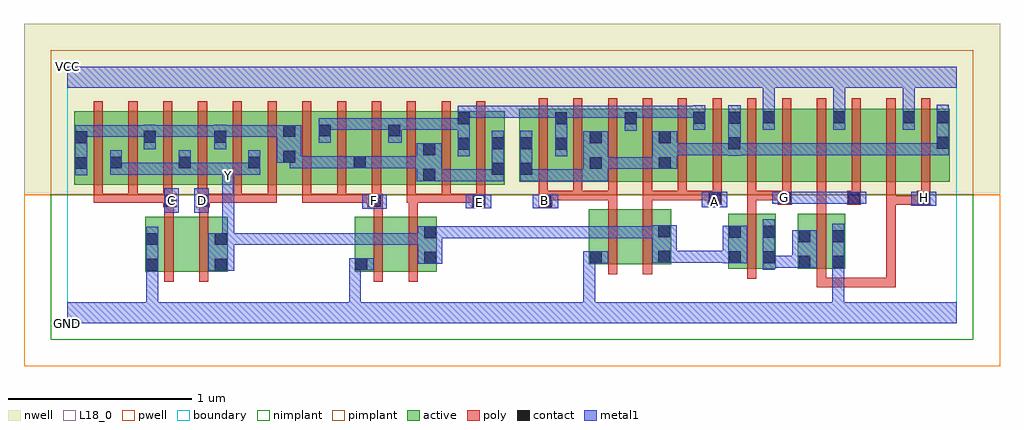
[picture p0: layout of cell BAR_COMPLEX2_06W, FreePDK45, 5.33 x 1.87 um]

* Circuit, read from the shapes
.subckt BAR_COMPLEX2_06W A B C D E F G GND H VCC Y
M1 n1 C GND VSUBS nfet w=0.3u l=0.05u
M2 Y D n1 VSUBS nfet w=0.3u l=0.05u
M3 n2 F GND VSUBS nfet w=0.3u l=0.05u
M4 Y E n2 VSUBS nfet w=0.3u l=0.05u
M5 n3 B GND VSUBS nfet w=0.3u l=0.05u
M6 Y A n3 VSUBS nfet w=0.3u l=0.05u
M7 n4 G Y VSUBS nfet w=0.3u l=0.05u
M8 GND H n4 VSUBS nfet w=0.3u l=0.05u
M9 Y C n5 n6 pfet w=0.4u l=0.05u m=3
M10 n5 D Y n6 pfet w=0.4u l=0.05u m=3
M11 n7 F n5 n6 pfet w=0.4u l=0.05u m=3
M12 n5 E n7 n6 pfet w=0.4u l=0.05u m=3
M13 n7 B n8 n6 pfet w=0.4u l=0.05u m=3
M14 n8 A n7 n6 pfet w=0.4u l=0.05u m=3
M15 VCC G n8 n6 pfet w=0.4u l=0.05u
M16 n9 G VCC n6 pfet w=0.4u l=0.05u
M17 VCC H n9 n6 pfet w=0.4u l=0.05u
M18 n10 G VCC n6 pfet w=0.4u l=0.05u
M19 VCC H n10 n6 pfet w=0.4u l=0.05u
M20 n8 H VCC n6 pfet w=0.4u l=0.05u
.ends

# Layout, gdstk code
import gdstk
lib = gdstk.Library(unit=1e-6, precision=1e-09)
def R(c, l, rs):  # rectangles x0, y0, x1, y1
    for r in rs: c.add(gdstk.rectangle(r[:2], r[2:], *l))
def A(c, l, x, y, w, h, nx, ny, dx, dy):  # array of equal rectangles
    R(c, l, [(x+i*dx, y+j*dy, x+i*dx+w, y+j*dy+h) for i in range(nx) for j in range(ny)])
active = (1, 0)
pwell = (2, 0)
nwell = (3, 0)
nimplant = (4, 0)
pimplant = (5, 0)
poly = (9, 0)
contact = (10, 0)
metal1 = (11, 0)
L18_0 = (18, 0)
boundary = (235, 0)

bar_complex2_06w = lib.new_cell('BAR_COMPLEX2_06W')
A(bar_complex2_06w, active, 1.37, 0.757, 0.265, 0.4, 4, 1, 0.19, 0)
A(bar_complex2_06w, active, 2.47, 0.772, 0.265, 0.4, 3, 1, 0.19, 0)
R(bar_complex2_06w, active, [(0.427,0.282,0.502,0.582), (0.427,0.282,0.652,0.582), (0.652,0.282,0.877,0.582), (0.802,0.282,0.877,0.582), (1.57,0.282,1.645,0.582), (1.57,0.282,1.795,0.582), (1.795,0.282,2.02,0.582), (1.945,0.282,2.02,0.582), (3.61,0.297,3.87,0.597), (3.99,0.297,4.065,0.597), (3.99,0.297,4.25,0.597), (4.175,0.297,4.25,0.597), (2.85,0.322,2.925,0.622), (2.85,0.322,3.075,0.622), (3.075,0.322,3.3,0.622), (3.61,0.322,3.685,0.597), (3.795,0.322,3.87,0.597), (3.225,0.325,3.3,0.622), (0.04,0.757,0.305,1.157), (0.04,0.757,0.115,1.155), (0.23,0.757,0.49,1.157), (0.23,0.757,0.305,1.07), (0.415,0.757,0.68,1.157), (0.415,0.757,0.49,1.155), (0.605,0.757,0.68,1.07), (0.605,0.757,0.875,1.157), (0.8,0.757,1.06,1.157), (0.8,0.757,0.875,1.155), (0.985,0.757,1.25,1.157), (0.985,0.757,1.06,1.07), (1.175,0.757,1.445,1.157), (1.175,0.757,1.25,1.155), (1.56,0.757,1.635,1.07), (1.75,0.757,1.825,1.157), (1.94,0.757,2.015,1.07), (2.13,0.757,2.39,1.157), (2.13,0.757,2.205,1.157), (2.315,0.757,2.39,1.07), (2.47,0.772,2.545,1.07), (3.04,0.772,3.302,1.172), (3.227,0.772,3.49,1.172), (3.415,0.772,3.682,1.172), (3.607,0.772,3.87,1.172), (3.795,0.772,4.025,1.172), (4.025,0.772,4.255,1.172), (4.18,0.772,4.405,1.172), (4.405,0.772,4.635,1.172), (4.56,0.772,4.82,1.172), (4.745,0.772,4.82,1.165), (2.85,0.837,2.925,1.07), (3.227,0.837,3.302,1.07), (1.37,0.907,1.445,1.155), (2.66,0.907,2.735,1.16), (3.04,0.907,3.115,1.157), (3.415,0.907,3.49,1.16), (3.607,0.907,3.682,1.162), (3.795,0.907,3.87,1.172), (4.18,0.907,4.255,1.172), (4.56,0.907,4.635,1.172)])
R(bar_complex2_06w, pwell, [(-0.235,-0.235,5.095,0.7)])
R(bar_complex2_06w, nwell, [(-0.235,0.7,5.095,1.635)])
R(bar_complex2_06w, nimplant, [(-0.09,-0.09,4.95,0.7)])
R(bar_complex2_06w, pimplant, [(-0.09,0.7,4.95,1.49)])
A(bar_complex2_06w, poly, 0.145, 0.657, 0.05, 0.095, 12, 1, 0.19, 0)
A(bar_complex2_06w, poly, 1.095, 0.657, 0.05, 0.05, 3, 1, 0.19, 0)
A(bar_complex2_06w, poly, 2.575, 0.672, 0.05, 0.095, 10, 1, 0.19, 0)
A(bar_complex2_06w, poly, 2.955, 0.672, 0.05, 0.05, 3, 1, 0.19, 0)
A(bar_complex2_06w, poly, 0.145, 0.702, 0.05, 0.51, 12, 1, 0.19, 0)
A(bar_complex2_06w, poly, 2.575, 0.717, 0.05, 0.51, 12, 1, 0.19, 0)
R(bar_complex2_06w, poly, [(4.095,0.197,4.145,0.292), (4.095,0.197,4.145,0.247), (4.095,0.197,4.145,0.247), (4.095,0.197,4.145,0.247), (4.095,0.197,4.302,0.247), (4.252,0.197,4.302,0.247), (4.252,0.197,4.302,0.247), (4.252,0.197,4.302,0.247), (4.252,0.197,4.302,0.247), (4.252,0.197,4.302,0.247), (4.252,0.197,4.302,0.247), (4.252,0.197,4.302,0.247), (4.252,0.197,4.525,0.247), (4.475,0.197,4.525,0.247), (4.475,0.197,4.525,0.247), (4.475,0.197,4.525,0.247), (4.475,0.197,4.525,0.697), (0.532,0.227,0.582,0.637), (0.722,0.227,0.772,0.637), (1.675,0.227,1.725,0.637), (1.865,0.227,1.915,0.637), (3.715,0.242,3.765,0.652), (4.095,0.242,4.145,0.652), (2.955,0.267,3.005,0.677), (3.145,0.267,3.195,0.677), (0.532,0.587,0.582,0.682), (0.722,0.587,0.772,0.682), (1.675,0.587,1.725,0.682), (1.865,0.587,1.915,0.707), (3.715,0.602,3.765,0.722), (4.095,0.602,4.145,0.722), (2.955,0.627,3.005,0.722), (3.145,0.627,3.195,0.722), (0.525,0.632,0.6,0.707), (0.705,0.632,0.78,0.707), (1.64,0.632,1.725,0.707), (2.21,0.632,2.285,0.707), (2.575,0.632,2.65,0.722), (3.5,0.647,3.575,0.722), (3.882,0.647,3.957,0.722), (4.26,0.647,4.335,0.722), (4.475,0.647,4.525,0.697), (4.475,0.647,4.69,0.697), (4.475,0.647,4.525,0.767), (4.64,0.647,4.69,0.697), (4.64,0.647,4.69,0.697), (4.64,0.647,4.715,0.722), (0.145,0.657,0.195,0.707), (0.145,0.657,0.195,0.707), (0.145,0.657,0.195,0.707), (0.145,0.657,0.385,0.707), (0.335,0.657,0.385,0.707), (0.335,0.657,0.385,0.707), (0.335,0.657,0.385,0.707), (0.335,0.657,0.575,0.707), (0.73,0.657,0.78,0.707), (0.73,0.657,0.78,0.707), (0.73,0.657,0.955,0.707), (0.905,0.657,0.955,0.707), (0.905,0.657,1.145,0.707), (1.095,0.657,1.145,0.707), (1.095,0.657,1.145,0.707), (1.285,0.657,1.525,0.707), (1.475,0.657,1.525,0.707), (1.475,0.657,1.525,0.707), (1.475,0.657,1.69,0.707), (1.64,0.657,1.69,0.707), (1.64,0.657,1.69,0.707), (1.855,0.657,1.915,0.707), (1.865,0.657,1.915,0.707), (1.865,0.657,1.915,0.707), (1.865,0.657,2.095,0.707), (2.045,0.657,2.095,0.707), (2.045,0.657,2.26,0.707), (2.21,0.657,2.26,0.707), (2.21,0.657,2.26,0.707), (2.6,0.672,2.65,0.722), (2.6,0.672,2.65,0.722), (2.6,0.672,2.815,0.722), (2.765,0.672,2.815,0.722), (2.765,0.672,3.005,0.722), (2.955,0.672,3.005,0.722), (2.955,0.672,3.005,0.722), (3.145,0.672,3.385,0.722), (3.335,0.672,3.385,0.722), (3.335,0.672,3.385,0.722), (3.335,0.672,3.55,0.722), (3.5,0.672,3.55,0.722), (3.5,0.672,3.55,0.722), (3.715,0.672,3.765,0.722), (3.715,0.672,3.932,0.722), (3.882,0.672,3.932,0.722), (3.882,0.672,3.932,0.722), (4.095,0.672,4.145,0.722), (4.665,0.672,4.715,0.767)])
R(bar_complex2_06w, contact, [(0.432,0.287,0.497,0.352), (0.807,0.287,0.872,0.352), (1.575,0.29,1.64,0.355), (3.995,0.302,4.06,0.367), (4.18,0.302,4.245,0.367), (1.95,0.325,2.015,0.39), (2.855,0.327,2.92,0.392), (3.615,0.327,3.68,0.392), (3.8,0.327,3.865,0.392), (3.23,0.33,3.295,0.395), (0.432,0.427,0.497,0.492), (0.807,0.427,0.872,0.492), (3.995,0.442,4.06,0.507), (4.18,0.442,4.245,0.507), (1.95,0.465,2.015,0.53), (3.615,0.467,3.68,0.532), (3.8,0.467,3.865,0.532), (3.23,0.47,3.295,0.535), (0.53,0.637,0.595,0.702), (0.71,0.637,0.775,0.702), (1.647,0.637,1.712,0.702), (2.215,0.637,2.28,0.702), (2.58,0.637,2.645,0.702), (3.505,0.652,3.57,0.717), (3.887,0.652,3.952,0.717), (4.265,0.652,4.33,0.717), (4.645,0.652,4.71,0.717), (1.945,0.777,2.01,0.842), (2.32,0.81,2.385,0.875), (2.475,0.81,2.54,0.875), (0.045,0.842,0.11,0.907), (2.855,0.842,2.92,0.907), (3.232,0.842,3.297,0.907), (0.235,0.845,0.3,0.91), (0.61,0.845,0.675,0.91), (0.99,0.845,1.055,0.91), (1.565,0.847,1.63,0.912), (1.18,0.877,1.245,0.942), (1.945,0.917,2.01,0.982), (2.135,0.947,2.2,1.012), (2.665,0.947,2.73,1.012), (2.32,0.95,2.385,1.015), (2.475,0.95,2.54,1.015), (3.612,0.95,3.677,1.015), (4.75,0.952,4.815,1.017), (0.045,0.982,0.11,1.047), (2.855,0.982,2.92,1.047), (3.232,0.982,3.297,1.047), (0.42,0.985,0.485,1.05), (0.805,0.985,0.87,1.05), (1.18,1.017,1.245,1.082), (1.375,1.02,1.44,1.085), (1.755,1.02,1.82,1.085), (2.135,1.087,2.2,1.152), (2.665,1.087,2.73,1.152), (3.045,1.087,3.11,1.152), (3.42,1.09,3.485,1.155), (3.612,1.09,3.677,1.155), (3.8,1.092,3.865,1.157), (4.185,1.092,4.25,1.157), (4.565,1.092,4.63,1.157), (4.75,1.092,4.815,1.157)])
R(bar_complex2_06w, metal1, [(0,0,4.86,0.115), (0.432,0.05,0.497,0.115), (0.432,0.05,0.497,0.115), (0.432,0.05,0.497,0.317), (1.54,0.05,1.605,0.115), (1.54,0.05,1.605,0.115), (1.54,0.05,1.605,0.115), (1.54,0.05,1.605,0.115), (1.54,0.05,1.605,0.355), (2.82,0.05,2.885,0.115), (2.82,0.05,2.885,0.115), (2.82,0.05,2.885,0.115), (2.82,0.05,2.885,0.115), (2.82,0.05,2.885,0.392), (4.18,0.05,4.245,0.115), (4.18,0.05,4.245,0.115), (4.18,0.05,4.245,0.332), (0.432,0.252,0.497,0.317), (0.432,0.252,0.497,0.317), (0.432,0.252,0.497,0.527), (4.18,0.267,4.245,0.332), (4.18,0.267,4.245,0.332), (4.18,0.267,4.245,0.542), (0.772,0.287,0.912,0.492), (1.54,0.29,1.675,0.355), (3.8,0.292,3.865,0.567), (3.8,0.302,3.865,0.367), (3.8,0.302,3.865,0.367), (3.8,0.302,4.025,0.367), (3.96,0.302,4.095,0.507), (1.915,0.325,2.05,0.53), (2.82,0.327,2.955,0.392), (3.58,0.327,3.715,0.532), (3.195,0.33,3.33,0.535), (3.265,0.33,3.332,0.395), (3.267,0.33,3.332,0.395), (3.267,0.33,3.507,0.395), (3.442,0.33,3.507,0.395), (3.442,0.33,3.507,0.395), (3.442,0.33,3.507,0.395), (3.442,0.33,3.645,0.395), (0.847,0.427,0.912,0.492), (0.847,0.427,0.912,0.492), (0.847,0.427,1.05,0.492), (0.847,0.427,0.912,0.802), (0.985,0.427,1.05,0.492), (0.985,0.427,1.05,0.492), (0.985,0.427,1.05,0.492), (0.985,0.427,1.28,0.492), (1.215,0.427,1.28,0.492), (1.215,0.427,1.28,0.492), (1.215,0.427,1.28,0.492), (1.215,0.427,1.417,0.492), (1.352,0.427,1.417,0.492), (1.352,0.427,1.417,0.492), (1.352,0.427,1.417,0.492), (1.352,0.427,1.672,0.492), (1.607,0.427,1.672,0.492), (1.607,0.427,1.672,0.492), (1.607,0.427,1.672,0.492), (1.607,0.427,1.837,0.492), (1.772,0.427,1.837,0.492), (1.772,0.427,1.837,0.492), (1.772,0.427,1.837,0.492), (1.772,0.427,1.98,0.492), (1.985,0.465,2.05,0.53), (1.985,0.465,2.05,0.53), (1.985,0.465,2.187,0.53), (2.122,0.465,2.187,0.53), (2.122,0.465,2.187,0.53), (2.122,0.465,2.187,0.53), (2.122,0.465,2.385,0.53), (2.32,0.465,2.385,0.53), (2.32,0.465,2.385,0.53), (2.32,0.465,2.385,0.53), (2.32,0.465,2.522,0.53), (2.457,0.465,2.522,0.53), (2.457,0.465,2.677,0.53), (2.612,0.465,2.677,0.53), (2.612,0.465,2.677,0.53), (2.612,0.465,2.677,0.53), (2.612,0.465,2.957,0.53), (2.892,0.465,2.957,0.53), (2.892,0.465,2.957,0.53), (2.892,0.465,2.957,0.53), (2.892,0.465,3.095,0.53), (3.03,0.465,3.095,0.53), (3.03,0.465,3.095,0.53), (3.03,0.465,3.095,0.53), (3.03,0.465,3.26,0.53), (0.53,0.602,0.61,0.737), (0.695,0.602,0.775,0.737), (1.612,0.625,1.747,0.702), (2.177,0.627,2.317,0.702), (2.542,0.627,2.682,0.702), (3.467,0.632,3.605,0.717), (4.61,0.64,4.747,0.717), (3.852,0.652,3.987,0.717), (3.922,0.652,4.002,0.717), (3.937,0.652,4.002,0.717), (3.937,0.652,4.157,0.717), (4.092,0.652,4.157,0.717), (4.092,0.652,4.157,0.717), (4.092,0.652,4.157,0.717), (4.092,0.652,4.295,0.717), (4.23,0.652,4.365,0.717), (0.847,0.737,0.912,0.875), (1.91,0.775,2.045,0.982), (1.98,0.775,2.045,0.84), (1.98,0.775,2.045,0.84), (1.98,0.775,2.247,0.84), (2.182,0.775,2.247,0.84), (2.182,0.775,2.247,0.84), (2.182,0.775,2.247,0.84), (2.182,0.775,2.385,0.84), (2.32,0.775,2.385,1.05), (2.475,0.775,2.54,0.84), (2.475,0.775,2.54,0.84), (2.475,0.775,2.54,1.05), (2.475,0.775,2.677,0.84), (2.612,0.775,2.677,0.84), (2.612,0.775,2.677,0.84), (2.612,0.775,2.677,0.84), (2.612,0.775,2.885,0.84), (2.82,0.775,2.955,1.047), (0.045,0.807,0.11,1.082), (0.235,0.81,0.3,0.875), (0.235,0.81,0.3,0.875), (0.235,0.81,0.3,0.945), (0.235,0.81,0.537,0.875), (0.472,0.81,0.537,0.875), (0.472,0.81,0.537,0.875), (0.472,0.81,0.537,0.875), (0.472,0.81,0.675,0.875), (0.61,0.81,0.675,0.875), (0.61,0.81,0.675,0.875), (0.61,0.81,0.675,0.945), (0.61,0.81,0.912,0.875), (0.847,0.81,0.912,0.875), (0.847,0.81,0.912,0.875), (0.847,0.81,0.912,0.875), (0.847,0.81,0.912,0.875), (0.847,0.81,1.055,0.875), (0.99,0.81,1.055,0.945), (2.89,0.842,2.955,0.907), (2.89,0.842,2.955,0.907), (2.89,0.842,3.122,0.907), (3.057,0.842,3.122,0.907), (3.057,0.842,3.122,0.907), (3.057,0.842,3.122,0.907), (3.057,0.842,3.262,0.907), (3.197,0.842,3.332,1.047), (1.215,0.847,1.28,0.912), (1.215,0.847,1.28,0.912), (1.215,0.847,1.457,0.912), (1.215,0.847,1.28,0.942), (1.392,0.847,1.457,0.912), (1.392,0.847,1.457,0.912), (1.392,0.847,1.457,0.912), (1.392,0.847,1.595,0.912), (1.53,0.847,1.665,0.912), (1.59,0.847,1.655,0.912), (1.59,0.847,1.665,0.912), (1.6,0.847,1.837,0.912), (1.772,0.847,1.837,0.912), (1.772,0.847,1.837,0.912), (1.772,0.847,1.837,0.912), (1.772,0.847,1.975,0.912), (1.145,0.877,1.28,1.082), (1.215,0.877,1.28,0.942), (2.135,0.912,2.2,1.187), (2.665,0.912,2.732,1.187), (3.612,0.915,3.68,1.19), (3.267,0.917,3.332,0.982), (3.267,0.917,3.332,0.982), (3.267,0.917,3.47,0.982), (3.405,0.917,3.47,0.982), (3.405,0.917,3.47,0.982), (3.405,0.917,3.47,0.982), (3.405,0.917,3.677,0.982), (3.615,0.917,3.68,0.982), (3.615,0.917,3.68,0.982), (3.615,0.917,3.865,0.982), (3.8,0.917,3.865,0.982), (3.8,0.917,3.865,0.982), (3.8,0.917,3.865,0.982), (3.8,0.917,4.002,0.982), (3.937,0.917,4.002,0.982), (3.937,0.917,4.157,0.982), (4.092,0.917,4.157,0.982), (4.092,0.917,4.157,0.982), (4.092,0.917,4.157,0.982), (4.092,0.917,4.295,0.982), (4.23,0.917,4.295,0.982), (4.23,0.917,4.295,0.982), (4.23,0.917,4.295,0.982), (4.23,0.917,4.432,0.982), (4.367,0.917,4.432,0.982), (4.367,0.917,4.432,0.982), (4.367,0.917,4.432,0.982), (4.367,0.917,4.815,0.982), (4.75,0.917,4.815,0.982), (4.75,0.917,4.815,0.982), (4.75,0.917,4.815,1.192), (0.42,0.95,0.485,1.085), (0.805,0.95,0.87,1.085), (1.375,0.985,1.44,1.12), (1.755,0.985,1.827,1.12), (0.045,1.017,0.11,1.082), (0.045,1.017,0.11,1.082), (0.045,1.017,0.347,1.082), (0.282,1.017,0.347,1.082), (0.282,1.017,0.347,1.082), (0.282,1.017,0.347,1.082), (0.282,1.017,0.485,1.082), (0.42,1.017,0.485,1.082), (0.42,1.017,0.485,1.082), (0.42,1.017,0.675,1.082), (0.61,1.017,0.675,1.082), (0.61,1.017,0.675,1.082), (0.61,1.017,0.675,1.082), (0.61,1.017,0.87,1.082), (0.805,1.017,0.912,1.082), (0.847,1.017,0.912,1.082), (0.847,1.017,1.072,1.082), (1.007,1.017,1.072,1.082), (1.007,1.017,1.072,1.082), (1.007,1.017,1.072,1.082), (1.007,1.017,1.21,1.082), (3.045,1.052,3.11,1.187), (1.375,1.055,1.44,1.12), (1.375,1.055,1.44,1.12), (1.375,1.055,1.672,1.12), (1.607,1.055,1.672,1.12), (1.607,1.055,1.672,1.12), (1.607,1.055,1.672,1.12), (1.607,1.055,1.82,1.12), (1.762,1.055,1.907,1.12), (1.842,1.055,1.907,1.12), (1.842,1.055,2.05,1.12), (1.985,1.055,2.05,1.12), (1.985,1.055,2.05,1.12), (1.985,1.055,2.05,1.12), (1.985,1.055,2.2,1.12), (3.42,1.055,3.485,1.19), (3.8,1.057,3.865,1.192), (4.185,1.057,4.25,1.192), (4.565,1.057,4.63,1.192), (2.135,1.122,2.2,1.187), (2.135,1.122,2.2,1.187), (2.135,1.122,2.385,1.187), (2.32,1.122,2.385,1.187), (2.32,1.122,2.385,1.187), (2.32,1.122,2.385,1.187), (2.32,1.122,2.54,1.187), (2.475,1.122,2.54,1.187), (2.475,1.122,2.73,1.187), (2.667,1.122,2.732,1.187), (2.667,1.122,2.732,1.187), (2.667,1.122,2.87,1.187), (2.805,1.122,2.87,1.187), (2.805,1.122,2.87,1.187), (2.805,1.122,2.87,1.187), (2.805,1.122,3.11,1.187), (3.045,1.122,3.11,1.187), (3.045,1.122,3.11,1.187), (3.045,1.122,3.26,1.187), (3.195,1.122,3.26,1.187), (3.195,1.122,3.332,1.187), (3.267,1.122,3.332,1.187), (3.267,1.122,3.485,1.187), (3.8,1.127,3.865,1.35), (4.185,1.127,4.25,1.35), (4.565,1.127,4.63,1.35), (0,1.285,4.86,1.4)])
R(bar_complex2_06w, L18_0, [(0,0,4.86,0.115), (0.432,0.05,0.497,0.115), (0.432,0.05,0.497,0.115), (0.432,0.05,0.497,0.317), (1.54,0.05,1.605,0.115), (1.54,0.05,1.605,0.115), (1.54,0.05,1.605,0.115), (1.54,0.05,1.605,0.115), (1.54,0.05,1.605,0.355), (2.82,0.05,2.885,0.115), (2.82,0.05,2.885,0.115), (2.82,0.05,2.885,0.115), (2.82,0.05,2.885,0.115), (2.82,0.05,2.885,0.392), (4.18,0.05,4.245,0.115), (4.18,0.05,4.245,0.115), (4.18,0.05,4.245,0.332), (0.432,0.252,0.497,0.317), (0.432,0.252,0.497,0.317), (0.432,0.252,0.497,0.527), (4.18,0.267,4.245,0.332), (4.18,0.267,4.245,0.332), (4.18,0.267,4.245,0.542), (0.772,0.287,0.912,0.492), (1.54,0.29,1.675,0.355), (1.915,0.325,2.05,0.53), (2.82,0.327,2.955,0.392), (3.58,0.327,3.715,0.532), (3.195,0.33,3.33,0.535), (3.265,0.33,3.332,0.395), (3.267,0.33,3.332,0.395), (3.267,0.33,3.507,0.395), (3.442,0.33,3.507,0.395), (3.442,0.33,3.507,0.395), (3.442,0.33,3.507,0.395), (3.442,0.33,3.645,0.395), (0.847,0.427,0.912,0.492), (0.847,0.427,0.912,0.492), (0.847,0.427,1.05,0.492), (0.847,0.427,0.912,0.802), (0.985,0.427,1.05,0.492), (0.985,0.427,1.05,0.492), (0.985,0.427,1.05,0.492), (0.985,0.427,1.28,0.492), (1.215,0.427,1.28,0.492), (1.215,0.427,1.28,0.492), (1.215,0.427,1.28,0.492), (1.215,0.427,1.417,0.492), (1.352,0.427,1.417,0.492), (1.352,0.427,1.417,0.492), (1.352,0.427,1.417,0.492), (1.352,0.427,1.672,0.492), (1.607,0.427,1.672,0.492), (1.607,0.427,1.672,0.492), (1.607,0.427,1.672,0.492), (1.607,0.427,1.837,0.492), (1.772,0.427,1.837,0.492), (1.772,0.427,1.837,0.492), (1.772,0.427,1.837,0.492), (1.772,0.427,1.98,0.492), (1.985,0.465,2.05,0.53), (1.985,0.465,2.05,0.53), (1.985,0.465,2.187,0.53), (2.122,0.465,2.187,0.53), (2.122,0.465,2.187,0.53), (2.122,0.465,2.187,0.53), (2.122,0.465,2.385,0.53), (2.32,0.465,2.385,0.53), (2.32,0.465,2.385,0.53), (2.32,0.465,2.385,0.53), (2.32,0.465,2.522,0.53), (2.457,0.465,2.522,0.53), (2.457,0.465,2.677,0.53), (2.612,0.465,2.677,0.53), (2.612,0.465,2.677,0.53), (2.612,0.465,2.677,0.53), (2.612,0.465,2.957,0.53), (2.892,0.465,2.957,0.53), (2.892,0.465,2.957,0.53), (2.892,0.465,2.957,0.53), (2.892,0.465,3.095,0.53), (3.03,0.465,3.095,0.53), (3.03,0.465,3.095,0.53), (3.03,0.465,3.095,0.53), (3.03,0.465,3.26,0.53), (0.53,0.602,0.61,0.737), (0.695,0.602,0.775,0.737), (1.612,0.625,1.747,0.702), (2.177,0.627,2.317,0.702), (2.217,0.627,2.282,0.692), (2.542,0.627,2.682,0.702), (3.467,0.632,3.605,0.717), (3.502,0.632,3.567,0.697), (0.537,0.637,0.602,0.702), (0.707,0.637,0.772,0.702), (1.647,0.637,1.712,0.702), (2.577,0.637,2.642,0.702), (4.61,0.64,4.747,0.717), (3.852,0.652,3.987,0.717), (3.887,0.652,3.952,0.717), (3.922,0.652,4.002,0.717), (3.937,0.652,4.002,0.717), (3.937,0.652,4.157,0.717), (4.092,0.652,4.157,0.717), (4.092,0.652,4.157,0.717), (4.092,0.652,4.157,0.717), (4.092,0.652,4.295,0.717), (4.23,0.652,4.365,0.717), (4.647,0.652,4.712,0.717), (0.847,0.737,0.912,0.875), (0.847,0.772,0.912,0.837), (0.235,0.81,0.3,0.945), (0.235,0.81,0.3,0.875), (0.235,0.81,0.3,0.875), (0.235,0.81,0.537,0.875), (0.472,0.81,0.537,0.875), (0.472,0.81,0.537,0.875), (0.472,0.81,0.537,0.875), (0.472,0.81,0.675,0.875), (0.61,0.81,0.675,0.945), (0.61,0.81,0.675,0.875), (0.61,0.81,0.675,0.875), (0.61,0.81,0.912,0.875), (0.847,0.81,0.912,0.875), (0.847,0.81,0.912,0.875), (0.847,0.81,0.912,0.875), (0.847,0.81,0.912,0.875), (0.847,0.81,1.055,0.875), (0.99,0.81,1.055,0.945), (3.8,1.057,3.865,1.192), (4.185,1.057,4.25,1.192), (4.565,1.057,4.63,1.192), (3.8,1.127,3.865,1.35), (4.185,1.127,4.25,1.35), (4.565,1.127,4.63,1.35), (0,1.285,4.86,1.4)])
R(bar_complex2_06w, boundary, [(0,0,4.86,1.4)])
bar_complex2_06w.add(gdstk.Label('A', (3.535,0.665), layer=11, texttype=0))
bar_complex2_06w.add(gdstk.Label('B', (2.61,0.67), layer=11, texttype=0))
bar_complex2_06w.add(gdstk.Label('C', (0.57,0.67), layer=11, texttype=0))
bar_complex2_06w.add(gdstk.Label('D', (0.74,0.67), layer=11, texttype=0))
bar_complex2_06w.add(gdstk.Label('E', (2.25,0.66), layer=11, texttype=0))
bar_complex2_06w.add(gdstk.Label('F', (1.68,0.67), layer=11, texttype=0))
bar_complex2_06w.add(gdstk.Label('G', (3.92,0.685), layer=11, texttype=0))
bar_complex2_06w.add(gdstk.Label('H', (4.68,0.685), layer=11, texttype=0))
bar_complex2_06w.add(gdstk.Label('Y', (0.88,0.805), layer=11, texttype=0))
bar_complex2_06w.add(gdstk.Label('VCC', (0,1.4), layer=11, texttype=0))
bar_complex2_06w.add(gdstk.Label('GND', (0,0), layer=11, texttype=0))

lib.write_gds('BAR_COMPLEX2_06W.gds')
